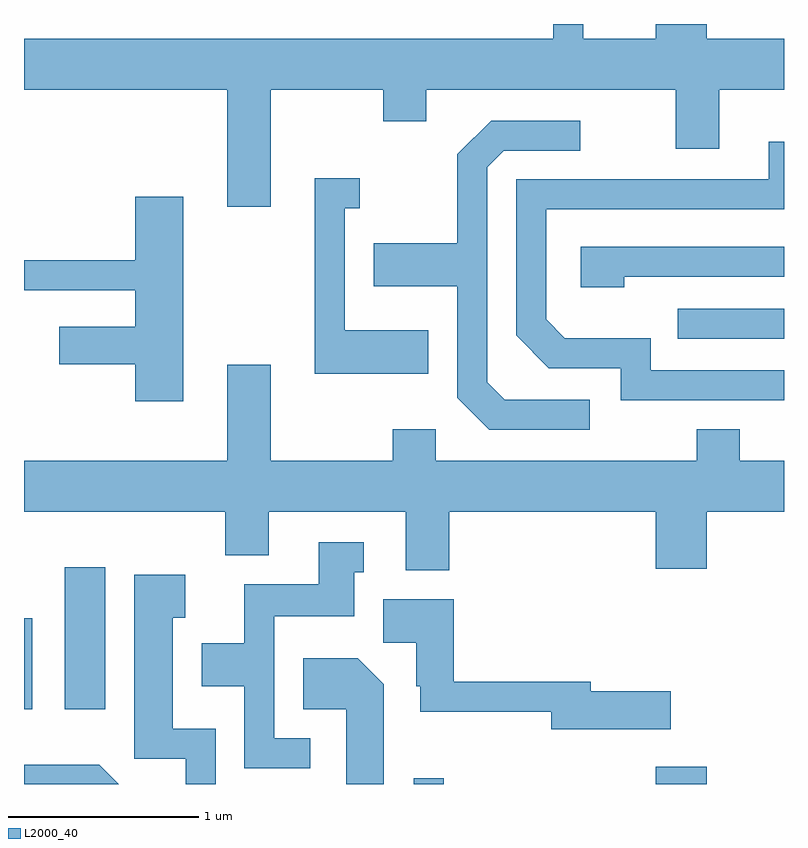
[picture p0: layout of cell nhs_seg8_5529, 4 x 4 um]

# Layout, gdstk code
import gdstk
lib = gdstk.Library(unit=1e-6, precision=1e-09)
def R(c, l, rs):  # rectangles x0, y0, x1, y1
    for r in rs: c.add(gdstk.rectangle(r[:2], r[2:], *l))
def P(c, l, *ps):  # polygons
    for p in ps: c.add(gdstk.Polygon(p, *l))
L2000_40 = (2000, 40)

nhs_seg8_5529 = lib.new_cell('nhs_seg8_5529')
R(nhs_seg8_5529, L2000_40, [(353.661,1808.342,353.819,1808.373), (354.936,1808.342,355.204,1808.434), (351.611,1808.736,351.654,1809.214), (351.826,1808.736,352.039,1809.484), (355.053,1810.686,355.611,1810.844)])
P(nhs_seg8_5529, L2000_40, [(352.909,1811.996),(353.501,1811.996),(353.501,1811.831),(353.729,1811.831),(353.729,1811.996),(355.041,1811.996),(355.041,1811.686),(355.269,1811.686),(355.269,1811.996),(355.611,1811.996),(355.611,1812.264),(355.204,1812.264),(355.204,1812.342),(354.936,1812.342),(354.936,1812.264),(354.554,1812.264),(354.554,1812.342),(354.396,1812.342),(354.396,1812.264),(351.611,1812.264),(351.611,1811.996),(352.681,1811.996),(352.681,1811.381),(352.909,1811.381)],
  [(354.588,1810.364),(354.142,1810.364),(354.049,1810.457),(354.049,1811.589),(354.137,1811.676),(354.538,1811.676),(354.538,1811.834),(354.069,1811.834),(353.891,1811.657),(353.891,1811.189),(353.451,1811.189),(353.451,1810.961),(353.891,1810.961),(353.891,1810.374),(354.059,1810.206),(354.588,1810.206)],
  [(355.611,1810.519),(354.909,1810.519),(354.909,1810.689),(354.457,1810.689),(354.359,1810.787),(354.359,1811.366),(355.611,1811.366),(355.611,1811.723),(355.531,1811.723),(355.531,1811.524),(354.201,1811.524),(354.201,1810.704),(354.374,1810.531),(354.751,1810.531),(354.751,1810.361),(355.611,1810.361)],
  [(353.739,1810.729),(353.299,1810.729),(353.299,1811.371),(353.378,1811.371),(353.378,1811.529),(353.141,1811.529),(353.141,1810.501),(353.739,1810.501)],
  [(352.449,1811.434),(352.196,1811.434),(352.196,1811.099),(351.611,1811.099),(351.611,1810.941),(352.196,1810.941),(352.196,1810.749),(351.796,1810.749),(351.796,1810.551),(352.196,1810.551),(352.196,1810.356),(352.449,1810.356)],
  [(354.769,1811.011),(355.611,1811.011),(355.611,1811.169),(354.541,1811.169),(354.541,1810.956),(354.769,1810.956)],
  [(353.849,1809.776),(354.936,1809.776),(354.936,1809.476),(355.204,1809.476),(355.204,1809.776),(355.611,1809.776),(355.611,1810.044),(355.379,1810.044),(355.379,1810.209),(355.151,1810.209),(355.151,1810.044),(353.779,1810.044),(353.779,1810.209),(353.551,1810.209),(353.551,1810.044),(352.909,1810.044),(352.909,1810.549),(352.681,1810.549),(352.681,1810.044),(351.611,1810.044),(351.611,1809.776),(352.671,1809.776),(352.671,1809.546),(352.899,1809.546),(352.899,1809.776),(353.621,1809.776),(353.621,1809.466),(353.849,1809.466)],
  [(353.118,1808.584),(352.929,1808.584),(352.929,1809.226),(353.349,1809.226),(353.349,1809.456),(353.398,1809.456),(353.398,1809.614),(353.161,1809.614),(353.161,1809.394),(352.771,1809.394),(352.771,1809.084),(352.546,1809.084),(352.546,1808.856),(352.771,1808.856),(352.771,1808.426),(353.118,1808.426)],
  [(352.619,1808.634),(352.394,1808.634),(352.394,1809.216),(352.459,1809.216),(352.459,1809.444),(352.191,1809.444),(352.191,1808.476),(352.461,1808.476),(352.461,1808.342),(352.619,1808.342)],
  [(355.014,1808.829),(354.594,1808.829),(354.594,1808.879),(353.874,1808.879),(353.874,1809.314),(353.501,1809.314),(353.501,1809.086),(353.676,1809.086),(353.676,1808.856),(353.696,1808.856),(353.696,1808.721),(354.386,1808.721),(354.386,1808.631),(355.014,1808.631)],
  [(353.504,1808.867),(353.367,1809.004),(353.081,1809.004),(353.081,1808.736),(353.306,1808.736),(353.306,1808.342),(353.504,1808.342)],
  [(352.007,1808.444),(351.611,1808.444),(351.611,1808.342),(352.109,1808.342)])

lib.write_gds('nhs_seg8_5529.gds')
